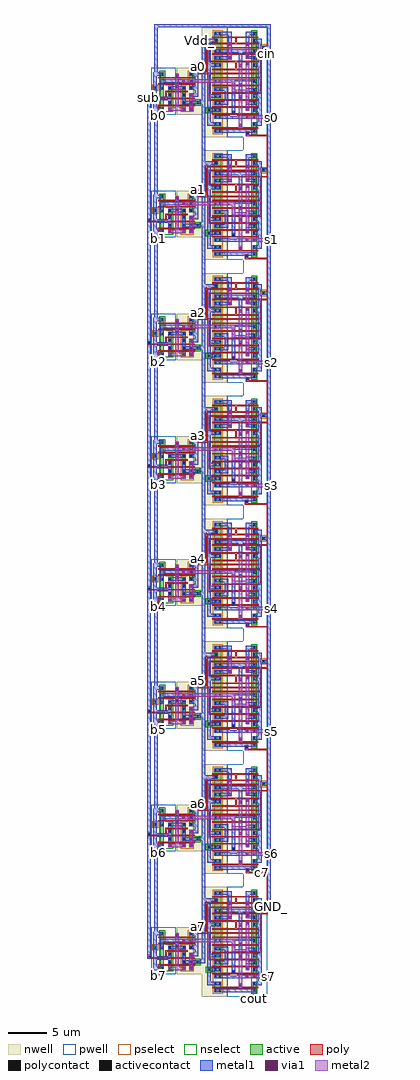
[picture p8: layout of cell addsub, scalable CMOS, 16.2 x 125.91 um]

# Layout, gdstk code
from math import pi, radians
import gdstk
lib = gdstk.Library(unit=1e-6, precision=1e-09)
def R(c, l, rs):  # rectangles x0, y0, x1, y1
    for r in rs: c.add(gdstk.rectangle(r[:2], r[2:], *l))
def A(c, l, x, y, w, h, nx, ny, dx, dy):  # array of equal rectangles
    R(c, l, [(x+i*dx, y+j*dy, x+i*dx+w, y+j*dy+h) for i in range(nx) for j in range(ny)])
pwell = (41, 0)
nwell = (42, 0)
active = (43, 0)
pselect = (44, 0)
nselect = (45, 0)
poly = (46, 0)
polycontact = (47, 0)
activecontact = (48, 0)
metal1 = (49, 0)
via1 = (50, 0)
metal2 = (51, 0)

xor = lib.new_cell('xor')
R(xor, pwell, [(4.95,-4.95,10.98,-1.8)])
R(xor, nwell, [(4.95,-1.71,10.98,1.53)])
R(xor, active, [(8.19,-4.68,8.64,-4.23), (5.49,-3.78,10.44,-3.33), (5.49,-2.79,6.75,-2.34), (7.29,-2.79,8.64,-2.34), (5.49,-0.99,6.75,-0.54), (7.29,-0.99,8.64,-0.54), (5.49,-0.09,7.74,0.36), (8.19,-0.09,10.44,0.36), (6.3,0.81,6.75,1.26)])
R(xor, pselect, [(8.01,-4.86,8.82,-4.05), (5.31,-1.17,8.82,-0.27), (5.31,-0.27,10.62,0.54)])
R(xor, nselect, [(5.31,-3.96,10.62,-3.15), (5.31,-3.15,8.82,-2.16), (6.12,0.63,6.93,1.44)])
R(xor, poly, [(6.03,-4.05,6.21,0.63), (6.93,-4.05,7.11,-3.15), (8.82,-4.05,9,-1.89), (9.63,-4.05,9.81,-1.89), (6.93,-3.15,8.01,-2.97), (6.93,-2.97,7.11,0.63), (7.83,-2.97,8.01,-0.27), (8.37,-1.89,9,-1.44), (9.63,-1.89,10.26,-1.44), (8.82,-1.44,9,0.63), (9.63,-1.44,9.81,0.63)])
R(xor, polycontact, [(8.505,-1.755,8.685,-1.575), (9.945,-1.755,10.125,-1.575)])
A(xor, activecontact, 6.435, -0.855, 0.18, 0.18, 1, 3, 0, 0.9)
A(xor, activecontact, 7.425, 0.045, 0.18, 0.18, 4, 1, 0.9, 0)
R(xor, activecontact, [(8.325,-4.545,8.505,-4.365), (5.625,-3.645,5.805,-3.465), (8.325,-3.645,8.505,-3.465), (10.125,-3.645,10.305,-3.465), (5.625,-2.655,5.805,-2.475), (6.435,-2.655,6.615,-2.475), (7.425,-2.655,7.605,-2.475), (8.325,-2.655,8.505,-2.475), (5.625,-0.855,5.805,-0.675), (7.425,-0.855,7.605,-0.675), (8.325,-0.855,8.505,-0.675), (5.625,0.045,5.805,0.225)])
R(xor, metal1, [(5.49,-4.68,10.44,-4.23), (5.49,-4.23,5.94,-3.33), (6.84,-4.23,7.29,-2.79), (9.99,-4.23,10.44,-3.33), (8.19,-3.78,9.54,-3.33), (9.09,-3.33,9.54,0.36), (5.49,-2.79,5.94,-2.34), (6.3,-2.79,7.74,-2.34), (8.19,-2.79,8.64,-1.89), (8.19,-1.89,8.82,-1.44), (9.81,-1.89,10.26,-1.44), (8.19,-1.44,8.64,-0.54), (5.49,-0.99,5.94,-0.54), (6.3,-0.99,7.74,-0.54), (6.3,-0.54,6.75,1.26), (5.49,-0.09,5.94,0.36), (7.29,-0.09,7.74,0.63), (8.19,-0.09,8.64,0.63), (9.99,-0.09,10.44,0.63), (7.29,0.63,10.44,1.08)])
R(xor, via1, [(5.58,-2.7,5.85,-2.43), (9.9,-1.8,10.17,-1.53), (5.58,-0.9,5.85,-0.63), (5.58,0,5.85,0.27), (7.38,0,7.65,0.27)])
R(xor, metal2, [(5.49,-2.79,5.94,-1.89), (5.49,-1.89,10.26,-1.44), (5.49,-1.44,5.94,-0.54), (5.49,-0.09,7.74,0.36)])
xor.add(gdstk.Label('b', (7.02,-1.26), layer=46, texttype=0))
xor.add(gdstk.Label('out', (9.315,-2.565), layer=49, texttype=0))
xor.add(gdstk.Label('a', (6.12,-1.26), layer=46, texttype=0))
xor.add(gdstk.Label('Vdd_', (6.525,1.035), layer=49, texttype=0))
xor.add(gdstk.Label('GND_', (8.415,-4.455), layer=49, texttype=0))

addsub_one = lib.new_cell('addsub_one')
R(addsub_one, pwell, [(0.45,-5.13,14.58,0)])
R(addsub_one, nwell, [(0.45,0,14.58,3.33)])
R(addsub_one, active, [(2.79,-4.86,3.24,-4.41), (0.99,-3.69,12.24,-3.24), (12.69,-3.69,14.04,-3.24), (0.99,0.81,12.24,1.71), (12.69,0.81,14.04,1.71), (10.89,2.16,11.34,2.61)])
R(addsub_one, pselect, [(2.61,-5.04,3.42,-4.23), (0.81,0.63,14.22,1.89)])
R(addsub_one, nselect, [(0.81,-3.87,14.22,-3.06), (10.71,1.98,11.52,2.79)])
R(addsub_one, poly, [(3.78,-4.86,3.96,-4.41), (3.78,-4.41,9,-4.23), (3.78,-4.23,3.96,1.98), (6.84,-4.23,7.02,1.98), (8.82,-4.23,9,1.98), (1.62,-3.96,1.8,-1.17), (2.43,-3.96,2.61,-1.17), (2.97,-3.96,3.15,2.25), (4.77,-3.96,4.95,-2.79), (5.76,-3.96,5.94,-1.17), (6.3,-3.96,6.48,2.25), (7.83,-3.96,8.01,-1.89), (9.72,-3.96,9.9,2.25), (10.62,-3.96,10.8,-2.79), (11.52,-3.96,11.7,-0.99), (13.32,-3.96,13.5,-1.89), (4.77,-2.79,5.31,-2.34), (10.62,-2.79,11.16,-2.34), (4.77,-2.34,4.95,-1.17), (10.62,-2.34,10.8,1.98), (7.65,-1.89,8.1,-1.44), (12.87,-1.89,13.5,-1.44), (7.83,-1.44,8.01,1.98), (13.32,-1.44,13.5,1.98), (1.62,-1.17,2.61,-0.99), (4.77,-1.17,5.94,-0.99), (1.62,-0.99,1.8,1.98), (2.43,-0.99,2.61,2.7), (4.77,-0.99,4.95,2.25), (5.76,-0.99,5.94,1.98), (11.16,-0.99,11.7,-0.54), (11.52,-0.54,11.7,1.98), (2.97,2.25,4.95,2.43), (6.3,2.25,9.9,2.43), (6.3,2.43,6.48,2.7), (2.43,2.7,6.48,2.88), (6.3,2.88,6.48,3.06)])
R(addsub_one, polycontact, [(4.995,-2.655,5.175,-2.475), (10.845,-2.655,11.025,-2.475), (7.785,-1.755,7.965,-1.575), (13.005,-1.755,13.185,-1.575), (11.295,-0.855,11.475,-0.675)])
A(addsub_one, activecontact, 3.375, -3.555, 0.18, 0.18, 3, 2, 0.9, 4.455)
A(addsub_one, activecontact, 9.225, -3.555, 0.18, 0.18, 6, 1, 0.9, 0)
A(addsub_one, activecontact, 8.325, 0.9, 0.18, 0.18, 7, 2, 0.9, 0.54)
A(addsub_one, activecontact, 3.375, 1.44, 0.18, 0.18, 3, 1, 0.9, 0)
R(addsub_one, activecontact, [(2.925,-4.725,3.105,-4.545), (1.125,-3.555,1.305,-3.375), (2.025,-3.555,2.205,-3.375), (7.245,-3.555,7.425,-3.375), (8.415,-3.555,8.595,-3.375), (1.125,0.9,1.305,1.08), (7.245,0.9,7.425,1.08), (2.025,1.395,2.205,1.575), (1.125,1.44,1.305,1.62), (7.245,1.44,7.425,1.62), (11.025,2.295,11.205,2.475)])
A(addsub_one, metal1, 9.09, -3.96, 0.45, 0.72, 3, 1, 1.8, 0)
A(addsub_one, metal1, 9.09, 0.81, 0.45, 1.35, 3, 1, 1.8, 0)
R(addsub_one, metal1, [(2.79,-4.86,3.24,-4.41), (1.89,-4.41,13.14,-3.96), (1.89,-3.96,2.34,-3.24), (5.04,-3.96,5.49,-3.24), (0.99,-3.69,1.44,-2.79), (3.24,-3.69,3.69,-1.89), (4.14,-3.69,4.59,-3.24), (7.11,-3.69,7.56,-3.24), (8.28,-3.69,8.73,-2.79), (9.99,-3.69,10.44,-2.79), (11.79,-3.69,12.24,-1.26), (13.59,-3.69,14.04,1.71), (4.14,-3.24,4.5,-2.79), (7.11,-3.24,7.38,-0.99), (0.99,-2.79,2.79,-2.34), (4.05,-2.79,4.5,-2.34), (4.86,-2.79,5.31,-2.34), (8.28,-2.79,10.44,-2.34), (10.71,-2.79,11.16,-2.34), (3.24,-1.89,5.58,-1.44), (7.65,-1.89,9.63,-1.44), (12.87,-1.89,13.32,-1.44), (3.24,-1.44,3.69,1.71), (11.88,-1.26,12.24,-0.27), (7.11,-0.99,11.61,-0.54), (0.99,-0.54,2.79,-0.09), (4.14,-0.54,4.59,1.71), (7.11,-0.54,7.56,1.71), (11.79,-0.27,12.24,1.71), (0.99,-0.09,1.44,1.71), (8.19,-0.09,10.44,0.36), (8.19,0.36,8.64,1.71), (9.99,0.36,10.44,1.71), (5.04,0.81,5.49,2.16), (1.89,1.26,2.34,2.16), (1.89,2.16,13.14,2.61)])
R(addsub_one, via1, [(2.43,-2.7,2.7,-2.43), (4.14,-2.7,4.41,-2.43), (4.95,-2.7,5.22,-2.43), (10.8,-2.7,11.07,-2.43), (5.22,-1.8,5.49,-1.53), (7.74,-1.8,8.01,-1.53), (9.27,-1.8,9.54,-1.53), (12.96,-1.8,13.23,-1.53), (2.43,-0.45,2.7,-0.18), (4.23,-0.45,4.5,-0.18)])
R(addsub_one, metal2, [(2.34,-2.79,4.5,-2.34), (4.86,-2.79,11.16,-2.34), (8.46,-2.34,8.82,-0.99), (5.13,-1.89,8.1,-1.44), (9.18,-1.89,13.32,-1.44), (7.11,-0.99,8.82,-0.54), (2.34,-0.54,4.59,-0.09), (7.11,-0.54,7.56,3.06)])
addsub_one.add(gdstk.Label('s', (12.06,-0.675), layer=49, texttype=0))
addsub_one.add(gdstk.Label('cout', (13.77,-2.565), layer=49, texttype=0))
addsub_one.add(gdstk.Label('cin', (3.87,-4.815), layer=46, texttype=0))
addsub_one.add(gdstk.Label('GND_', (3.015,-4.635), layer=49, texttype=0))
addsub_one.add(gdstk.Label('a', (6.39,3.015), layer=46, texttype=0))
addsub_one.add(gdstk.Label('b', (7.335,3.015), layer=51, texttype=0))
addsub_one.add(gdstk.Label('Vdd_', (12.915,2.385), layer=49, texttype=0))

addsub = lib.new_cell('addsub')
A(addsub, pwell, -0.63, 5.49, 0.18, 0.18, 1, 7, 0, 15.84)
R(addsub, pwell, [(11.16,-15.21,11.34,-14.49), (11.16,-14.49,14.22,109.8), (0.09,99.63,0.27,99.81)])
A(addsub, poly, 0.09, -12.6, 0.18, 1.53, 1, 8, 0, 15.84)
A(addsub, poly, -1.26, -10.35, 1.53, 0.18, 1, 8, 0, 15.84)
A(addsub, poly, 5.31, -7.11, 0.72, 0.18, 1, 8, 0, 15.84)
A(addsub, poly, 5.31, -6.93, 0.18, 0.9, 1, 8, 0, 15.84)
A(addsub, poly, 13.95, -4.59, 0.36, 0.18, 1, 7, 0, 15.84)
A(addsub, poly, 14.13, -4.41, 0.18, 5.13, 1, 7, 0, 15.84)
A(addsub, poly, 11.43, 0.72, 2.88, 0.18, 1, 4, 0, 31.68)
A(addsub, poly, 11.43, 0.9, 0.45, 0.45, 1, 4, 0, 31.68)
A(addsub, poly, -1.26, 5.67, 0.45, 0.27, 1, 7, 0, 15.84)
A(addsub, poly, 11.34, 16.56, 2.97, 0.18, 1, 3, 0, 31.68)
A(addsub, poly, 11.34, 16.74, 0.45, 0.45, 1, 3, 0, 31.68)
R(addsub, poly, [(-1.26,-10.17,-0.72,-9.81), (13.95,106.29,14.4,106.47)])
A(addsub, polycontact, 11.565, 1.035, 0.18, 0.18, 1, 4, 0, 31.68)
A(addsub, polycontact, -1.125, 5.625, 0.18, 0.18, 1, 7, 0, 15.84)
A(addsub, polycontact, 11.475, 16.875, 0.18, 0.18, 1, 3, 0, 31.68)
R(addsub, polycontact, [(-1.08,-10.17,-0.9,-9.99)])
A(addsub, metal1, 5.49, -10.89, 0.72, 0.45, 1, 8, 0, 15.84)
A(addsub, metal1, 5.76, -10.44, 0.45, 7.47, 1, 15, 0, 7.92)
A(addsub, metal1, 3.24, -8.19, 0.45, 0.45, 1, 8, 0, 15.84)
A(addsub, metal1, -0.36, -6.93, 0.45, 11.43, 1, 7, 0, 15.84)
A(addsub, metal1, 14.22, -3.42, 0.45, 15.39, 1, 7, 0, 15.84)
A(addsub, metal1, 5.76, -2.97, 0.72, 0.45, 1, 7, 0, 15.84)
A(addsub, metal1, 13.95, 11.97, 0.72, 0.45, 1, 7, 0, 15.84)
A(addsub, metal1, 11.34, 16.74, 0.45, 0.45, 1, 3, 0, 31.68)
R(addsub, metal1, [(12.33,-15.66,12.78,-14.67), (11.43,-12.87,11.88,-12.42), (-1.26,-10.35,-0.72,-9.81), (-1.26,-9.81,-0.81,100.98), (13.95,-3.87,14.94,-3.42), (11.43,0.9,11.88,1.35), (11.43,2.97,11.88,3.42), (11.43,18.81,11.88,19.26), (11.43,32.58,11.88,33.03), (11.43,34.65,11.88,35.1), (11.43,50.49,11.88,50.94), (11.43,64.26,11.88,64.71), (11.43,66.33,11.88,66.78), (11.43,82.17,11.88,82.62), (11.43,95.94,11.88,96.39), (11.43,98.01,11.88,98.46), (-0.36,103.95,0.09,109.8), (14.22,107.46,14.67,109.8), (5.31,107.91,6.48,108.36), (-0.36,109.8,14.67,110.25)])
A(addsub, via1, 11.52, -12.78, 0.27, 0.27, 1, 8, 0, 15.84)
A(addsub, via1, 3.33, -8.1, 0.27, 0.27, 1, 8, 0, 15.84)
A(addsub, metal2, 3.24, -8.19, 2.79, 0.45, 1, 6, 0, 15.84)
A(addsub, metal2, 11.43, 2.97, 3.51, 0.45, 1, 7, 0, 15.84)
R(addsub, metal2, [(11.43,-12.87,14.49,-12.42), (3.24,86.85,6.12,87.3), (3.24,102.69,6.03,103.14)])
addsub.add(gdstk.Reference(xor, (4.23,93.6), rotation=pi/2, x_reflection=True))
addsub.add(gdstk.Reference(addsub_one, (9.09,110.25), rotation=3*pi/2, x_reflection=True))
addsub.add(gdstk.Reference(xor, (4.23,77.76), rotation=pi/2, x_reflection=True))
addsub.add(gdstk.Reference(addsub_one, (9.09,94.41), rotation=3*pi/2, x_reflection=True))
addsub.add(gdstk.Reference(xor, (4.23,61.92), rotation=pi/2, x_reflection=True))
addsub.add(gdstk.Reference(addsub_one, (9.09,78.57), rotation=3*pi/2, x_reflection=True))
addsub.add(gdstk.Reference(xor, (4.23,46.08), rotation=pi/2, x_reflection=True))
addsub.add(gdstk.Reference(addsub_one, (9.09,62.73), rotation=3*pi/2, x_reflection=True))
addsub.add(gdstk.Reference(addsub_one, (9.09,46.89), rotation=3*pi/2, x_reflection=True))
addsub.add(gdstk.Reference(xor, (4.23,30.24), rotation=pi/2, x_reflection=True))
addsub.add(gdstk.Reference(addsub_one, (9.09,31.05), rotation=3*pi/2, x_reflection=True))
addsub.add(gdstk.Reference(xor, (4.23,14.4), rotation=pi/2, x_reflection=True))
addsub.add(gdstk.Reference(xor, (4.23,-1.44), rotation=pi/2, x_reflection=True))
addsub.add(gdstk.Reference(addsub_one, (9.09,15.21), rotation=3*pi/2, x_reflection=True))
addsub.add(gdstk.Reference(xor, (4.23,-17.28), rotation=pi/2, x_reflection=True))
addsub.add(gdstk.Reference(addsub_one, (9.09,-0.63), rotation=3*pi/2, x_reflection=True))
addsub.add(gdstk.Label('s3', (14.805,50.715), layer=51, texttype=0))
addsub.add(gdstk.Label('a3', (5.4,57.195), layer=46, texttype=0))
addsub.add(gdstk.Label('b3', (0.18,50.895), layer=46, texttype=0))
addsub.add(gdstk.Label('s4', (14.805,34.875), layer=51, texttype=0))
addsub.add(gdstk.Label('a4', (5.4,41.355), layer=46, texttype=0))
addsub.add(gdstk.Label('b4', (0.18,35.055), layer=46, texttype=0))
addsub.add(gdstk.Label('s5', (14.805,19.035), layer=51, texttype=0))
addsub.add(gdstk.Label('a5', (5.4,25.515), layer=46, texttype=0))
addsub.add(gdstk.Label('b5', (0.18,19.215), layer=46, texttype=0))
addsub.add(gdstk.Label('s0', (14.805,98.235), layer=51, texttype=0))
addsub.add(gdstk.Label('Vdd_', (5.535,108.135), layer=49, texttype=0))
addsub.add(gdstk.Label('a0', (5.4,104.715), layer=46, texttype=0))
addsub.add(gdstk.Label('b0', (0.18,98.415), layer=46, texttype=0))
addsub.add(gdstk.Label('s1', (14.805,82.395), layer=51, texttype=0))
addsub.add(gdstk.Label('a1', (5.4,88.875), layer=46, texttype=0))
addsub.add(gdstk.Label('b1', (0.18,82.575), layer=46, texttype=0))
addsub.add(gdstk.Label('s2', (14.805,66.555), layer=51, texttype=0))
addsub.add(gdstk.Label('a2', (5.4,73.035), layer=46, texttype=0))
addsub.add(gdstk.Label('b2', (0.18,66.735), layer=46, texttype=0))
addsub.add(gdstk.Label('s6', (14.805,3.195), layer=51, texttype=0))
addsub.add(gdstk.Label('a6', (5.4,9.675), layer=46, texttype=0))
addsub.add(gdstk.Label('b6', (0.18,3.375), layer=46, texttype=0))
addsub.add(gdstk.Label('cout', (12.555,-15.435), layer=49, texttype=0))
addsub.add(gdstk.Label('s7', (14.355,-12.645), layer=51, texttype=0))
addsub.add(gdstk.Label('GND_', (14.805,-3.645), layer=49, texttype=0))
addsub.add(gdstk.Label('a7', (5.4,-6.165), layer=46, texttype=0))
addsub.add(gdstk.Label('b7', (0.18,-12.465), layer=46, texttype=0))
addsub.add(gdstk.Label('cin', (14.085,106.38), layer=46, texttype=0))
addsub.add(gdstk.Label('sub', (-1.035,100.755), layer=49, texttype=0))
addsub.add(gdstk.Label('c7', (13.59,0.81), layer=46, texttype=0))

lib.write_gds('addsub.gds')
